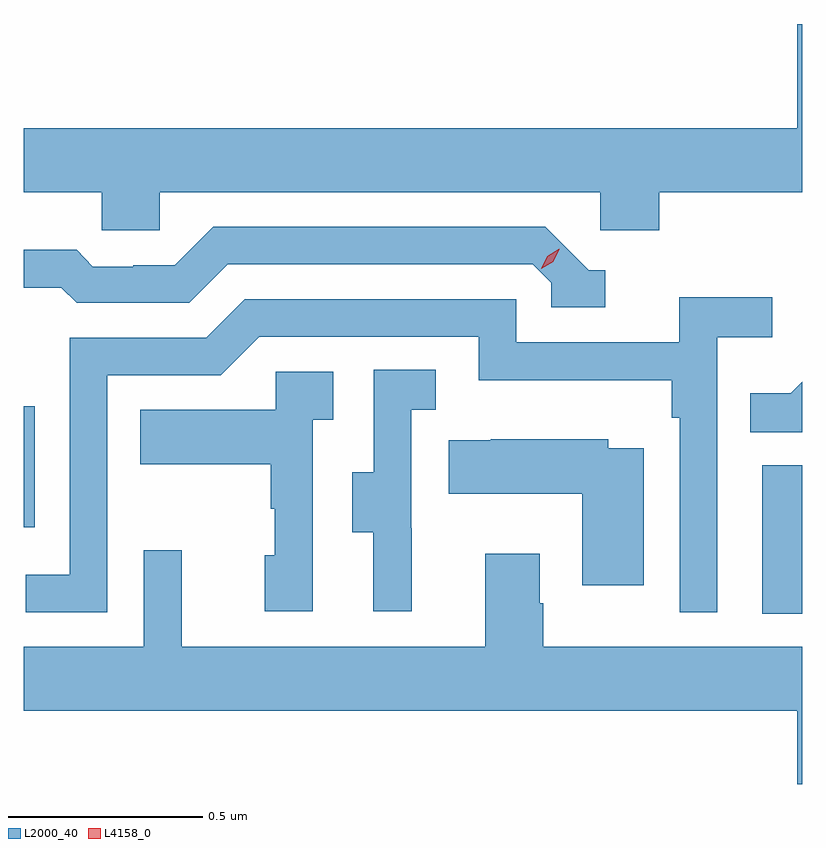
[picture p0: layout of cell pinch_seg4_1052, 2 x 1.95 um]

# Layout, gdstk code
import gdstk
lib = gdstk.Library(unit=1e-6, precision=1e-09)
def R(c, l, rs):  # rectangles x0, y0, x1, y1
    for r in rs: c.add(gdstk.rectangle(r[:2], r[2:], *l))
def P(c, l, *ps):  # polygons
    for p in ps: c.add(gdstk.Polygon(p, *l))
L2000_40 = (2000, 40)
L4158_0 = (4158, 0)

pinch_seg4_1052 = lib.new_cell('pinch_seg4_1052')
R(pinch_seg4_1052, L2000_40, [(812.27,753.113,812.373,753.495), (810.373,753.336,810.402,753.646)])
P(pinch_seg4_1052, L2000_40, [(810.723,754.196),(811.854,754.196),(811.854,754.098),(812.006,754.098),(812.006,754.196),(812.373,754.196),(812.373,754.628),(812.36,754.628),(812.36,754.36),(810.373,754.36),(810.373,754.196),(810.573,754.196),(810.573,754.098),(810.723,754.098)],
  [(811.867,753.996),(811.824,753.996),(811.713,754.107),(810.86,754.107),(810.761,754.008),(810.654,754.008),(810.654,754.005),(810.551,754.005),(810.509,754.048),(810.373,754.048),(810.373,753.951),(810.47,753.951),(810.509,753.912),(810.798,753.912),(810.897,754.011),(811.68,754.011),(811.728,753.963),(811.728,753.9),(811.867,753.9)],
  [(810.588,753.726),(810.879,753.726),(810.978,753.825),(811.542,753.825),(811.542,753.713),(812.038,753.713),(812.038,753.617),(812.058,753.617),(812.058,753.117),(812.154,753.117),(812.154,753.824),(812.296,753.824),(812.296,753.926),(812.057,753.926),(812.057,753.81),(811.638,753.81),(811.638,753.921),(810.941,753.921),(810.842,753.822),(810.492,753.822),(810.492,753.213),(810.379,753.213),(810.379,753.117),(810.588,753.117)],
  [(811.37,753.333),(811.368,753.333),(811.368,753.637),(811.432,753.637),(811.432,753.74),(811.272,753.74),(811.272,753.477),(811.217,753.477),(811.217,753.322),(811.271,753.322),(811.271,753.12),(811.37,753.12)],
  [(811.116,753.611),(811.168,753.611),(811.168,753.735),(811.02,753.735),(811.02,753.637),(810.673,753.637),(810.673,753.497),(811.008,753.497),(811.008,753.383),(811.018,753.383),(811.018,753.264),(810.992,753.264),(810.992,753.12),(811.116,753.12)],
  [(812.373,753.709),(812.343,753.679),(812.239,753.679),(812.239,753.58),(812.373,753.58)],
  [(811.966,753.538),(811.875,753.538),(811.875,753.562),(811.573,753.562),(811.573,753.559),(811.465,753.559),(811.465,753.422),(811.808,753.422),(811.808,753.186),(811.966,753.186)],
  [(812.373,753.028),(811.707,753.028),(811.707,753.14),(811.699,753.14),(811.699,753.268),(811.559,753.268),(811.559,753.028),(810.779,753.028),(810.779,753.277),(810.681,753.277),(810.681,753.028),(810.373,753.028),(810.373,752.864),(812.36,752.864),(812.36,752.676),(812.373,752.676)])
P(pinch_seg4_1052, L4158_0, [(811.702,753.999),(811.702,753.999),(811.718,754.032),(811.749,754.051),(811.749,754.051),(811.749,754.05),(811.733,754.018),(811.702,753.999)])

lib.write_gds('pinch_seg4_1052.gds')
